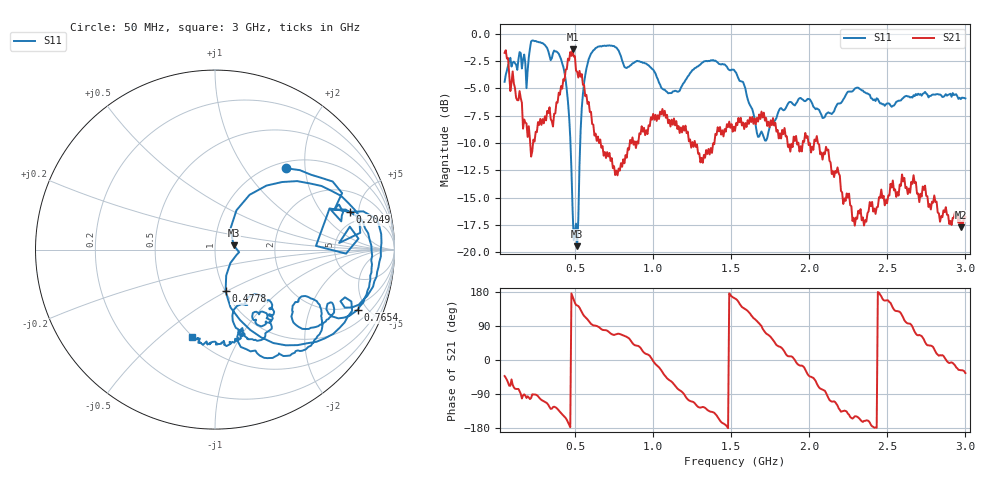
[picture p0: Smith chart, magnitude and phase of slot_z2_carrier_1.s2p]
! nanovna_capture.py 2026-10-26T21:40:02+0900
! NanoVNA-F_V2 fw 0.6.0 SN 4A3639384505514B
! cal: load open short thru cal'ed  over 50000000-3000000000 Hz, 201 points
! points 401, avg 4
! slot line with the carrier plate on it, no wallet (was meant as the empty drift check; carrier left on)
# HZ S RI R 50
! S12 and S22 are not measured (written as 0)
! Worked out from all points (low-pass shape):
!   401 points, 50 MHz to 3 GHz, reference 50 ohm
!   highest |S21| = -1.43 dB at 485.1 MHz (marker M1); lowest = -17.7 dB at 2.97 GHz (marker M2)
!   |S21| within 3 dB of the highest: start of sweep to 82.94 MHz; 423.9 MHz to 549.6 MHz (125.7 MHz wide, 25.8 % of centre) (the widest 2 of 3)
!   lowest |S11| = -19.4 dB at 514.6 MHz (marker M3), VSWR 1.24, Z = 61.5 + j2.91 ohm
!   |S11| at or under -10 dB: 471.6 MHz to 534.1 MHz (62.53 MHz wide, 12.4 % of centre)
!   S12 and S22 are empty: the file has one direction only
!   S11 on the Smith chart (normalised r, x): 50 MHz: 1.12, +1.59; 204.9 MHz: 3.68, +3.94; 477.8 MHz: 1.00, -0.49; 765.4 MHz: 1.65, -4.35; 3 GHz: 0.49, -0.64
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5e7  0.396 0.4534  0.6038 -0.5498  0 0  0 0
1.75375e8  0.7993 0.0611  -0.00472 -0.4049  0 0  0 0
2.04875e8  0.7497 0.2103  -0.0589 -0.3723  0 0  0 0
2.4175e8  0.9235 -0.00152  -0.00559 -0.3208  0 0  0 0
3.745e8  0.739 -0.3747  -0.2448 -0.3551  0 0  0 0
4.335e8  0.3943 -0.5331  -0.5237 -0.3108  0 0  0 0
4.7775e8  0.0589 -0.2323  -0.7883 0.0602  0 0  0 0
4.85125e8  0.0625 -0.1445  -0.8288 0.1786  0 0  0 0
5.14625e8  0.1041 0.0234  -0.5403 0.3938  0 0  0 0
5.44125e8  0.2869 0.3567  -0.3845 0.5273  0 0  0 0
6.17875e8  0.8233 0.1541  -0.0082 0.3835  0 0  0 0
7.65375e8  0.7955 -0.3353  0.0889 0.2191  0 0  0 0
1.03825e9  0.4373 -0.4067  0.3838 -0.1344  0 0  0 0
1.207875e9  0.547 -0.2759  -0.0413 -0.377  0 0  0 0
1.525e9  0.2917 -0.6047  -0.3424 0.1083  0 0  0 0
1.694625e9  0.18 -0.3082  0.00258 0.4398  0 0  0 0
1.842125e9  0.3097 -0.3238  0.3437 0.1376  0 0  0 0
2.019125e9  0.234 -0.418  0.211 -0.2188  0 0  0 0
2.292e9  0.2795 -0.4856  -0.1129 -0.0692  0 0  0 0
2.51325e9  0.1416 -0.4563  -0.1616 0.0834  0 0  0 0
2.9705e9  -0.0942 -0.4926  0.1161 -0.0594  0 0  0 0
3e9  -0.1298 -0.4882  0.1195 -0.0823  0 0  0 0
